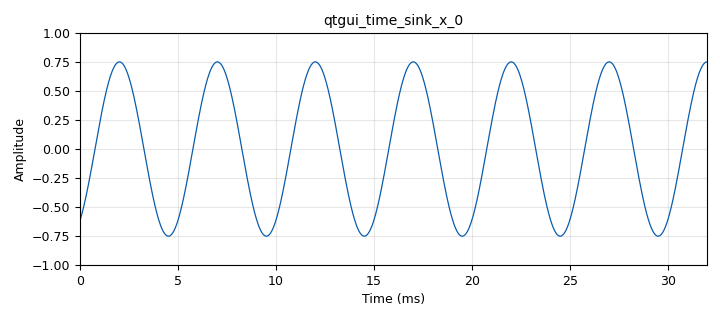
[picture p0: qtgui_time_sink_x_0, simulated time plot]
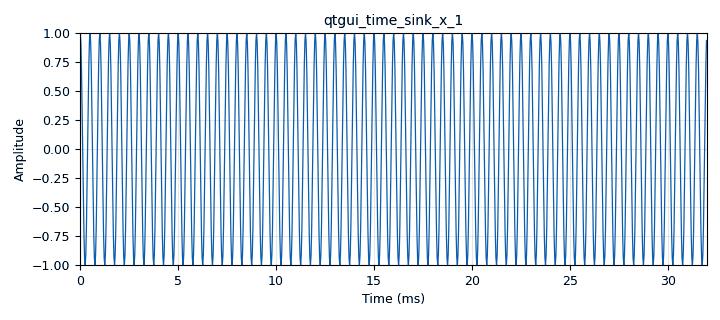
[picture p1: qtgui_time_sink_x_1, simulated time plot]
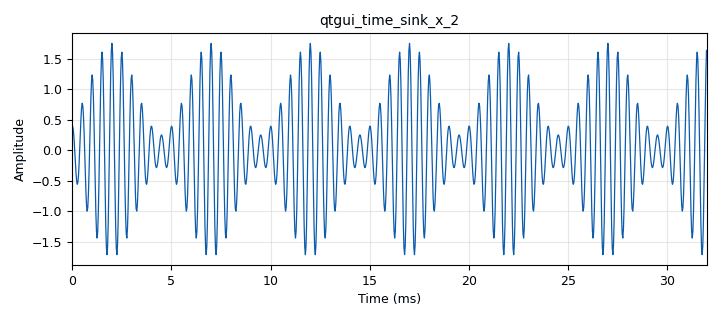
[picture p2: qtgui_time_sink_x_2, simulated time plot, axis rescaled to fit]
<?xml version='1.0' encoding='utf-8'?>
<?grc format='1' created='3.7.11'?>
<flow_graph>
<block>
<key>options</key>
<param><key>id</key><value>top_block</value></param>
<param><key>generate_options</key><value>qt_gui</value></param>
</block>
<block>
<key>variable_qtgui_range</key>
<param><key>id</key><value>A_c</value></param>
<param><key>value</key><value>1</value></param>
<param><key>label</key><value>Carrier Amplitude</value></param>
<param><key>orient</key><value>Qt.Horizontal</value></param>
<param><key>start</key><value>.5</value></param>
<param><key>step</key><value>.1</value></param>
<param><key>stop</key><value>1</value></param>
</block>
<block>
<key>variable_qtgui_range</key>
<param><key>id</key><value>f_c</value></param>
<param><key>value</key><value>30000</value></param>
<param><key>label</key><value>Carrier Frequency</value></param>
<param><key>orient</key><value>Qt.Horizontal</value></param>
<param><key>start</key><value>5000</value></param>
<param><key>step</key><value>100</value></param>
<param><key>stop</key><value>50000</value></param>
<param><key>rangeType</key><value>int</value></param>
</block>
<block>
<key>variable_qtgui_range</key>
<param><key>id</key><value>f_m</value></param>
<param><key>value</key><value>200</value></param>
<param><key>label</key><value>Message Frequency</value></param>
<param><key>orient</key><value>Qt.Horizontal</value></param>
<param><key>start</key><value>1</value></param>
<param><key>step</key><value>10</value></param>
<param><key>stop</key><value>2000</value></param>
<param><key>rangeType</key><value>int</value></param>
</block>
<block>
<key>variable_qtgui_range</key>
<param><key>id</key><value>mod_ind</value></param>
<param><key>value</key><value>.75</value></param>
<param><key>label</key><value>modulation index </value></param>
<param><key>orient</key><value>Qt.Horizontal</value></param>
<param><key>start</key><value>0</value></param>
<param><key>step</key><value>.05</value></param>
<param><key>stop</key><value>1</value></param>
</block>
<block>
<key>variable</key>
<param><key>id</key><value>samp_rate</value></param>
<param><key>value</key><value>32000</value></param>
</block>
<block>
<key>analog_sig_source_x</key>
<param><key>id</key><value>Carrier_1</value></param>
<param><key>amp</key><value>mod_ind</value></param>
<param><key>freq</key><value>f_m</value></param>
<param><key>offset</key><value>0</value></param>
<param><key>type</key><value>float</value></param>
<param><key>samp_rate</key><value>samp_rate</value></param>
<param><key>waveform</key><value>analog.GR_COS_WAVE</value></param>
</block>
<block>
<key>analog_sig_source_x</key>
<param><key>id</key><value>Carrier_1_0</value></param>
<param><key>amp</key><value>A_c</value></param>
<param><key>freq</key><value>f_c</value></param>
<param><key>offset</key><value>0</value></param>
<param><key>type</key><value>float</value></param>
<param><key>samp_rate</key><value>samp_rate</value></param>
<param><key>waveform</key><value>analog.GR_COS_WAVE</value></param>
</block>
<block>
<key>blocks_add_const_vxx</key>
<param><key>id</key><value>blocks_add_const_vxx_0</value></param>
<param><key>const</key><value>1</value></param>
<param><key>type</key><value>float</value></param>
</block>
<block>
<key>blocks_multiply_xx</key>
<param><key>id</key><value>blocks_multiply_xx_0</value></param>
<param><key>type</key><value>float</value></param>
</block>
<block>
<key>import</key>
<param><key>id</key><value>import_0</value></param>
<param><key>import</key><value>import math</value></param>
</block>
<block>
<key>qtgui_time_sink_x</key>
<param><key>id</key><value>qtgui_time_sink_x_0</value></param>
<param><key>color1</key><value>"blue"</value></param>
<param><key>label1</key><value></value></param>
<param><key>size</key><value>1024</value></param>
<param><key>srate</key><value>samp_rate</value></param>
<param><key>type</key><value>float</value></param>
</block>
<block>
<key>qtgui_time_sink_x</key>
<param><key>id</key><value>qtgui_time_sink_x_1</value></param>
<param><key>color1</key><value>"blue"</value></param>
<param><key>label1</key><value></value></param>
<param><key>size</key><value>1024</value></param>
<param><key>srate</key><value>samp_rate</value></param>
<param><key>type</key><value>float</value></param>
</block>
<block>
<key>qtgui_time_sink_x</key>
<param><key>id</key><value>qtgui_time_sink_x_2</value></param>
<param><key>color1</key><value>"blue"</value></param>
<param><key>label1</key><value></value></param>
<param><key>size</key><value>1024</value></param>
<param><key>srate</key><value>samp_rate</value></param>
<param><key>type</key><value>float</value></param>
</block>
<connection><source_block_id>Carrier_1</source_block_id><sink_block_id>blocks_add_const_vxx_0</sink_block_id><source_key>0</source_key><sink_key>0</sink_key></connection>
<connection><source_block_id>Carrier_1</source_block_id><sink_block_id>qtgui_time_sink_x_0</sink_block_id><source_key>0</source_key><sink_key>0</sink_key></connection>
<connection><source_block_id>Carrier_1_0</source_block_id><sink_block_id>blocks_multiply_xx_0</sink_block_id><source_key>0</source_key><sink_key>1</sink_key></connection>
<connection><source_block_id>Carrier_1_0</source_block_id><sink_block_id>qtgui_time_sink_x_1</sink_block_id><source_key>0</source_key><sink_key>0</sink_key></connection>
<connection><source_block_id>blocks_add_const_vxx_0</source_block_id><sink_block_id>blocks_multiply_xx_0</sink_block_id><source_key>0</source_key><sink_key>0</sink_key></connection>
<connection><source_block_id>blocks_multiply_xx_0</source_block_id><sink_block_id>qtgui_time_sink_x_2</sink_block_id><source_key>0</source_key><sink_key>0</sink_key></connection>
</flow_graph>
